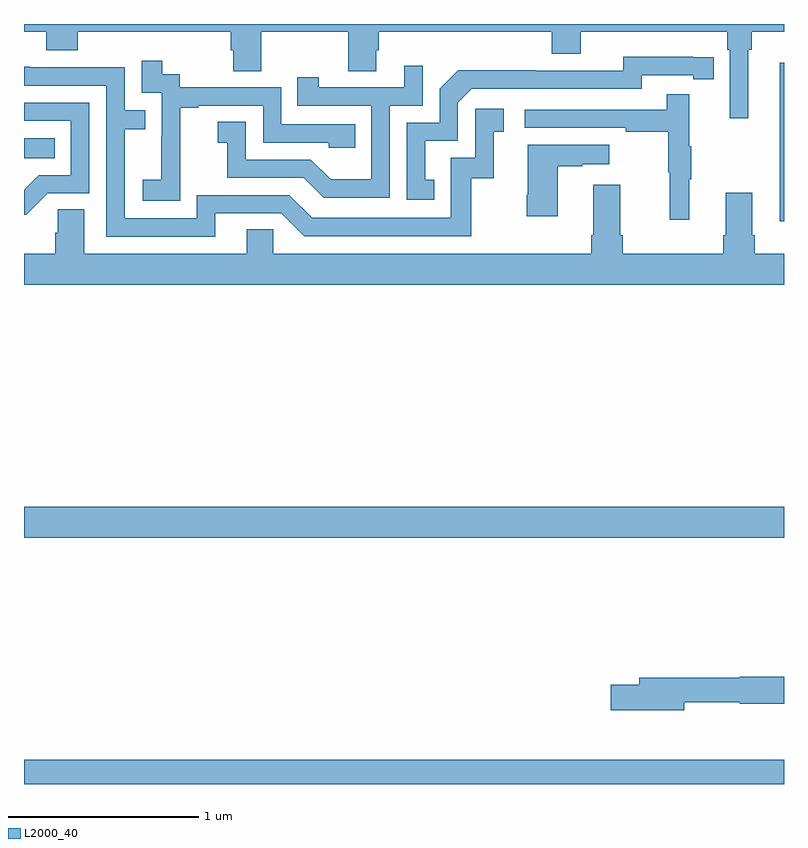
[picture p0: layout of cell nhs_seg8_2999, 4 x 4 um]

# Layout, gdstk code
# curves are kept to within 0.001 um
import gdstk
lib = gdstk.Library(unit=1e-6, precision=1e-09)
def R(c, l, rs):  # rectangles x0, y0, x1, y1
    for r in rs: c.add(gdstk.rectangle(r[:2], r[2:], *l))
def P(c, l, *ps):  # polygons
    for p in ps: c.add(gdstk.Polygon(p, *l))
L2000_40 = (2000, 40)

nhs_seg8_2999 = lib.new_cell('nhs_seg8_2999')
R(nhs_seg8_2999, L2000_40, [(299,1085.9,303,1086.028), (299,1087.196,303,1087.36), (302.978,1088.862,303,1089.697), (299,1089.194,299.162,1089.298)])
P(nhs_seg8_2999, L2000_40, [(302.812,1089.764),(302.831,1089.764),(302.831,1089.86),(303,1089.86),(303,1089.9),(299,1089.9),(299,1089.86),(299.117,1089.86),(299.117,1089.761),(299.282,1089.761),(299.282,1089.86),(300.089,1089.86),(300.089,1089.762),(300.101,1089.762),(300.101,1089.652),(300.249,1089.652),(300.249,1089.86),(300.706,1089.86),(300.706,1089.652),(300.853,1089.652),(300.853,1089.762),(300.866,1089.762),(300.866,1089.86),(301.778,1089.86),(301.778,1089.743),(301.93,1089.743),(301.93,1089.86),(302.702,1089.86),(302.702,1089.764),(302.715,1089.764),(302.715,1089.405),(302.812,1089.405)],
  [(301.16,1089.081),(301.111,1089.081),(301.111,1089.285),(301.284,1089.285),(301.284,1089.486),(301.356,1089.558),(302.25,1089.558),(302.25,1089.63),(302.522,1089.63),(302.522,1089.61),(302.63,1089.61),(302.63,1089.726),(302.154,1089.727),(302.154,1089.654),(301.694,1089.654),(301.694,1089.656),(301.286,1089.656),(301.188,1089.558),(301.188,1089.381),(301.014,1089.381),(301.014,1088.976),(301.16,1088.976)],
  [(299.823,1089.175),(299.822,1089.175),(299.822,1089.459),(299.917,1089.459),(299.917,1089.471),(300.258,1089.471),(300.258,1089.276),(300.603,1089.276),(300.603,1089.249),(300.743,1089.249),(300.743,1089.372),(300.354,1089.372),(300.354,1089.567),(299.82,1089.567),(299.82,1089.636),(299.728,1089.636),(299.728,1089.706),(299.619,1089.706),(299.619,1089.537),(299.724,1089.537),(299.724,1089.308),(299.723,1089.308),(299.723,1089.079),(299.625,1089.079),(299.625,1088.969),(299.823,1088.969)],
  [(300.924,1089.471),(301.098,1089.471),(301.098,1089.679),(301.001,1089.679),(301.001,1089.567),(300.55,1089.567),(300.55,1089.619),(300.439,1089.619),(300.439,1089.471),(300.828,1089.471),(300.828,1089.082),(300.614,1089.082),(300.51,1089.186),(300.168,1089.186),(300.168,1089.385),(300.021,1089.385),(300.021,1089.275),(300.07,1089.275),(300.07,1089.09),(300.473,1089.09),(300.578,1088.985),(300.924,1088.985)],
  [(300.007,1088.904),(300.354,1088.904),(300.474,1088.784),(301.354,1088.784),(301.354,1089.087),(301.472,1089.087),(301.472,1089.333),(301.525,1089.333),(301.525,1089.454),(301.374,1089.454),(301.374,1089.195),(301.245,1089.195),(301.245,1088.88),(300.516,1088.88),(300.396,1089),(299.91,1089),(299.91,1088.877),(299.529,1088.877),(299.529,1089.346),(299.639,1089.346),(299.639,1089.447),(299.529,1089.447),(299.529,1089.672),(299.033,1089.672),(299.033,1089.674),(299,1089.674),(299,1089.576),(299.433,1089.576),(299.433,1088.781),(300.007,1088.781)],
  [(302.501,1089.083),(302.512,1089.083),(302.512,1089.257),(302.501,1089.257),(302.501,1089.529),(302.383,1089.529),(302.383,1089.45),(301.635,1089.45),(301.635,1089.354),(302.167,1089.354),(302.167,1089.334),(302.391,1089.334),(302.391,1089.12),(302.398,1089.12),(302.398,1088.871),(302.501,1088.871)],
  [(299.124,1089.009),(299.343,1089.009),(299.343,1089.486),(299,1089.486),(299,1089.39),(299.247,1089.39),(299.247,1089.105),(299.078,1089.105),(299,1089.027),(299,1088.897),(299.011,1088.897)],
  [(301.81,1089.151),(301.937,1089.151),(301.937,1089.161),(302.08,1089.161),(302.08,1089.265),(301.652,1089.265),(301.652,1089.001),(301.645,1089.001),(301.645,1088.889),(301.81,1088.889)],
  [(303,1088.692),(302.846,1088.692),(302.846,1088.788),(302.833,1088.788),(302.833,1089.013),(302.693,1089.013),(302.693,1088.788),(302.681,1088.788),(302.681,1088.692),(302.15,1088.692),(302.15,1088.788),(302.137,1088.788),(302.137,1089.055),(301.997,1089.055),(301.997,1088.788),(301.985,1088.788),(301.985,1088.692),(300.312,1088.692),(300.312,1088.819),(300.173,1088.819),(300.173,1088.692),(299.317,1088.692),(299.317,1088.924),(299.178,1088.924),(299.178,1088.801),(299.165,1088.801),(299.165,1088.692),(299,1088.692),(299,1088.528),(303,1088.528)],
  [(302.476,1086.33),(302.766,1086.33),(302.766,1086.322),(303,1086.322),(303,1086.464),(302.766,1086.464),(302.766,1086.458),(302.237,1086.458),(302.237,1086.422),(302.088,1086.422),(302.088,1086.287),(302.476,1086.287)])

lib.write_gds('nhs_seg8_2999.gds')
